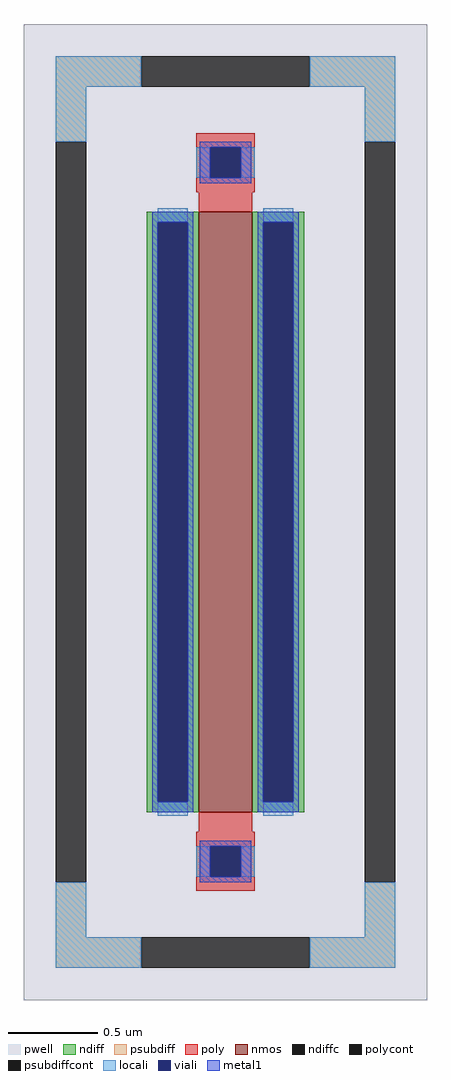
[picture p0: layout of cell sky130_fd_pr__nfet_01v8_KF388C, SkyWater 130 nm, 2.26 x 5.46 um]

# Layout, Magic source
magic
tech sky130A
magscale 1 2
<< pwell >>
rect -226 -546 226 546
<< nmos >>
rect -30 -336 30 336
<< ndiff >>
rect -88 324 -30 336
rect -88 -324 -76 324
rect -42 -324 -30 324
rect -88 -336 -30 -324
rect 30 324 88 336
rect 30 -324 42 324
rect 76 -324 88 324
rect 30 -336 88 -324
<< ndiffc >>
rect -76 -324 -42 324
rect 42 -324 76 324
<< psubdiff >>
rect -190 476 -94 510
rect 94 476 190 510
rect -190 414 -156 476
rect 156 414 190 476
rect -190 -476 -156 -414
rect 156 -476 190 -414
rect -190 -510 -94 -476
rect 94 -510 190 -476
<< psubdiffcont >>
rect -94 476 94 510
rect -190 -414 -156 414
rect 156 -414 190 414
rect -94 -510 94 -476
<< poly >>
rect -33 408 33 424
rect -33 374 -17 408
rect 17 374 33 408
rect -33 358 33 374
rect -30 336 30 358
rect -30 -358 30 -336
rect -33 -374 33 -358
rect -33 -408 -17 -374
rect 17 -408 33 -374
rect -33 -424 33 -408
<< polycont >>
rect -17 374 17 408
rect -17 -408 17 -374
<< locali >>
rect -190 476 -94 510
rect 94 476 190 510
rect -190 414 -156 476
rect 156 414 190 476
rect -33 374 -17 408
rect 17 374 33 408
rect -76 324 -42 340
rect -76 -340 -42 -324
rect 42 324 76 340
rect 42 -340 76 -324
rect -33 -408 -17 -374
rect 17 -408 33 -374
rect -190 -476 -156 -414
rect 156 -476 190 -414
rect -190 -510 -94 -476
rect 94 -510 190 -476
<< viali >>
rect -17 374 17 408
rect -76 -324 -42 324
rect 42 -324 76 324
rect -17 -408 17 -374
<< metal1 >>
rect -29 408 29 414
rect -29 374 -17 408
rect 17 374 29 408
rect -29 368 29 374
rect -82 324 -36 336
rect -82 -324 -76 324
rect -42 -324 -36 324
rect -82 -336 -36 -324
rect 36 324 82 336
rect 36 -324 42 324
rect 76 -324 82 324
rect 36 -336 82 -324
rect -29 -374 29 -368
rect -29 -408 -17 -374
rect 17 -408 29 -374
rect -29 -414 29 -408
<< properties >>
string FIXED_BBOX -173 -493 173 493
string gencell sky130_fd_pr__nfet_01v8
string library sky130
string parameters w 3.36 l 0.3 m 1 nf 1 diffcov 100 polycov 100 guard 1 glc 1 grc 1 gtc 1 gbc 1 tbcov 100 rlcov 100 topc 1 botc 1 poverlap 0 doverlap 1 lmin 0.15 wmin 0.42 compatible {sky130_fd_pr__nfet_01v8 sky130_fd_pr__nfet_01v8_lvt  sky130_fd_bs_flash__special_sonosfet_star  sky130_fd_pr__nfet_g5v0d10v5 sky130_fd_pr__nfet_05v0_nvt  sky130_fd_pr__nfet_03v3_nvt} full_metal 1 viasrc 100 viadrn 100 viagate 100 viagb 0 viagr 0 viagl 0 viagt 0
<< end >>
